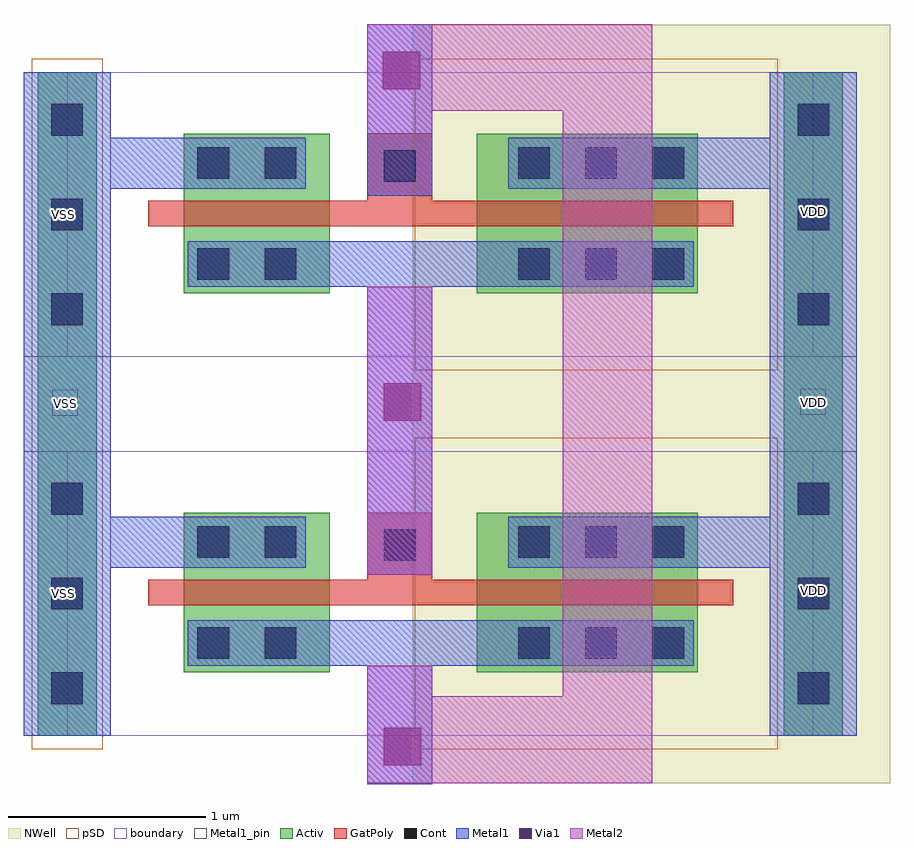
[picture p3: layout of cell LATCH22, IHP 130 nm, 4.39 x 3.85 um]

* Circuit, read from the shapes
.subckt LATCH22 VDD VSS
XM1 VSS n1 n2 VSS sg13_lv_nmos w=0.74u l=0.13u
XM2 VSS n2 n1 VSS sg13_lv_nmos w=0.74u l=0.13u
XM3 VDD n1 n2 VDD sg13_lv_pmos w=1.12u l=0.13u
XM4 VDD n2 n1 VDD sg13_lv_pmos w=1.12u l=0.13u
.ends

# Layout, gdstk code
import gdstk
lib = gdstk.Library(unit=1e-6, precision=1e-09)
def R(c, l, rs):  # rectangles x0, y0, x1, y1
    for r in rs: c.add(gdstk.rectangle(r[:2], r[2:], *l))
def P(c, l, *ps):  # polygons
    for p in ps: c.add(gdstk.Polygon(p, *l))
Activ = (1, 0)
GatPoly = (5, 0)
Cont = (6, 0)
Metal1 = (8, 0)
Metal1_pin = (8, 2)
Metal2 = (10, 0)
pSD = (14, 0)
Via1 = (19, 0)
NWell = (31, 0)
boundary = (189, 4)

latch22 = lib.new_cell('LATCH22')
R(latch22, Activ, [(0.07,0.245,0.37,1.685), (0.07,0.245,0.37,1.685), (3.85,0.245,4.15,1.685), (3.85,0.245,4.15,1.685), (0.81,0.565,1.55,1.375), (0.81,0.565,1.55,1.375), (2.295,0.565,3.415,1.375), (2.295,0.565,3.415,1.375), (3.85,1.683,4.15,2.165), (3.85,1.683,4.15,2.165), (0.07,1.685,0.37,2.165), (0.07,1.685,0.37,2.165), (0.07,2.165,0.37,3.605), (0.07,2.165,0.37,3.605), (3.85,2.165,4.15,3.605), (3.85,2.165,4.15,3.605), (0.81,2.485,1.55,3.295), (0.81,2.485,1.55,3.295), (2.295,2.485,3.415,3.295), (2.295,2.485,3.415,3.295)])
P(latch22, GatPoly, [(0.63,0.905),(0.63,1.035),(1.74,1.035),(1.74,1.375),(2.07,1.375),(2.07,1.035),(3.595,1.035),(3.595,0.905)],
  [(0.63,2.825),(0.63,2.955),(1.74,2.955),(1.74,3.295),(2.07,3.295),(2.07,2.955),(3.595,2.955),(3.595,2.825)],
  [(0.63,0.905),(0.63,1.035),(1.74,1.035),(1.74,1.375),(2.07,1.375),(2.07,1.035),(3.595,1.035),(3.595,0.905)],
  [(0.63,2.825),(0.63,2.955),(1.74,2.955),(1.74,3.295),(2.07,3.295),(2.07,2.955),(3.595,2.955),(3.595,2.825)])
R(latch22, Cont, [(0.14,0.405,0.3,0.565), (0.14,0.405,0.3,0.565), (0.14,0.405,0.3,0.565), (0.14,0.405,0.3,0.565), (3.92,0.405,4.08,0.565), (3.92,0.405,4.08,0.565), (3.92,0.405,4.08,0.565), (3.92,0.405,4.08,0.565), (0.88,0.635,1.04,0.795), (0.88,0.635,1.04,0.795), (1.22,0.635,1.38,0.795), (1.22,0.635,1.38,0.795), (2.505,0.635,2.665,0.795), (2.505,0.635,2.665,0.795), (2.845,0.635,3.005,0.795), (2.845,0.635,3.005,0.795), (3.185,0.635,3.345,0.795), (3.185,0.635,3.345,0.795), (0.14,0.885,0.3,1.045), (0.14,0.885,0.3,1.045), (0.14,0.885,0.3,1.045), (0.14,0.885,0.3,1.045), (3.92,0.885,4.08,1.045), (3.92,0.885,4.08,1.045), (3.92,0.885,4.08,1.045), (3.92,0.885,4.08,1.045), (1.825,1.13,1.985,1.29), (1.825,1.13,1.985,1.29), (0.88,1.145,1.04,1.305), (0.88,1.145,1.04,1.305), (1.22,1.145,1.38,1.305), (1.22,1.145,1.38,1.305), (2.505,1.145,2.665,1.305), (2.505,1.145,2.665,1.305), (2.845,1.145,3.005,1.305), (2.845,1.145,3.005,1.305), (3.185,1.145,3.345,1.305), (3.185,1.145,3.345,1.305), (0.14,1.365,0.3,1.525), (0.14,1.365,0.3,1.525), (0.14,1.365,0.3,1.525), (0.14,1.365,0.3,1.525), (3.92,1.365,4.08,1.525), (3.92,1.365,4.08,1.525), (3.92,1.365,4.08,1.525), (3.92,1.365,4.08,1.525), (0.14,2.325,0.3,2.485), (0.14,2.325,0.3,2.485), (0.14,2.325,0.3,2.485), (0.14,2.325,0.3,2.485), (3.92,2.325,4.08,2.485), (3.92,2.325,4.08,2.485), (3.92,2.325,4.08,2.485), (3.92,2.325,4.08,2.485), (0.88,2.555,1.04,2.715), (0.88,2.555,1.04,2.715), (1.22,2.555,1.38,2.715), (1.22,2.555,1.38,2.715), (2.505,2.555,2.665,2.715), (2.505,2.555,2.665,2.715), (2.845,2.555,3.005,2.715), (2.845,2.555,3.005,2.715), (3.185,2.555,3.345,2.715), (3.185,2.555,3.345,2.715), (0.14,2.805,0.3,2.965), (0.14,2.805,0.3,2.965), (0.14,2.805,0.3,2.965), (0.14,2.805,0.3,2.965), (3.92,2.805,4.08,2.965), (3.92,2.805,4.08,2.965), (3.92,2.805,4.08,2.965), (3.92,2.805,4.08,2.965), (1.825,3.05,1.985,3.21), (1.825,3.05,1.985,3.21), (0.88,3.065,1.04,3.225), (0.88,3.065,1.04,3.225), (1.22,3.065,1.38,3.225), (1.22,3.065,1.38,3.225), (2.505,3.065,2.665,3.225), (2.505,3.065,2.665,3.225), (2.845,3.065,3.005,3.225), (2.845,3.065,3.005,3.225), (3.185,3.065,3.345,3.225), (3.185,3.065,3.345,3.225), (0.14,3.285,0.3,3.445), (0.14,3.285,0.3,3.445), (0.14,3.285,0.3,3.445), (0.14,3.285,0.3,3.445), (3.92,3.285,4.08,3.445), (3.92,3.285,4.08,3.445), (3.92,3.285,4.08,3.445), (3.92,3.285,4.08,3.445)])
R(latch22, Metal1, [(1.74,0,2.07,0.6), (1.74,0,2.07,0.6), (1.744,0.005,2.064,0.83), (1.744,0.005,2.064,0.83), (0.83,0.6,3.395,0.83), (0.83,0.6,3.395,0.83), (1.74,1.06,2.07,1.375), (1.74,1.06,2.07,1.375), (1.74,1.06,2.07,2.52), (1.74,1.06,2.07,2.52), (3.78,1.683,4.22,2.165), (3.78,1.683,4.22,2.165), (0,1.685,0.44,2.165), (0,1.685,0.44,2.165), (0.83,2.52,3.395,2.75), (0.83,2.52,3.395,2.75), (1.74,2.98,2.07,3.295), (1.74,2.98,2.07,3.295), (1.74,2.984,2.07,3.85), (1.74,2.984,2.07,3.85)])
P(latch22, Metal1, [(0,0.245),(0,1.685),(0.44,1.685),(0.44,1.355),(1.43,1.355),(1.43,1.095),(0.44,1.095),(0.44,0.245)],
  [(3.78,0.245),(3.78,1.095),(2.455,1.095),(2.455,1.355),(3.78,1.355),(3.78,1.685),(4.22,1.685),(4.22,0.245)],
  [(0,2.165),(0,3.605),(0.44,3.605),(0.44,3.275),(1.43,3.275),(1.43,3.015),(0.44,3.015),(0.44,2.165)],
  [(3.78,2.165),(3.78,3.015),(2.455,3.015),(2.455,3.275),(3.78,3.275),(3.78,3.605),(4.22,3.605),(4.22,2.165)],
  [(0,0.245),(0,1.685),(0.44,1.685),(0.44,1.355),(1.43,1.355),(1.43,1.095),(0.44,1.095),(0.44,0.245)],
  [(3.78,0.245),(3.78,1.095),(2.455,1.095),(2.455,1.355),(3.78,1.355),(3.78,1.685),(4.22,1.685),(4.22,0.245)],
  [(0,2.165),(0,3.605),(0.44,3.605),(0.44,3.275),(1.43,3.275),(1.43,3.015),(0.44,3.015),(0.44,2.165)],
  [(3.78,2.165),(3.78,3.015),(2.455,3.015),(2.455,3.275),(3.78,3.275),(3.78,3.605),(4.22,3.605),(4.22,2.165)])
R(latch22, Metal1_pin, [(0,0.245,0.44,1.685), (0,0.245,0.44,1.685), (3.78,0.245,4.22,1.685), (3.78,0.245,4.22,1.685), (0.144,1.866,0.274,1.996), (0.144,1.866,0.274,1.996), (3.934,1.871,4.064,2.001), (3.934,1.871,4.064,2.001), (0,2.165,0.44,3.605), (0,2.165,0.44,3.605), (3.78,2.165,4.22,3.605), (3.78,2.165,4.22,3.605)])
R(latch22, Metal2, [(1.74,0.005,1.744,0.445), (1.74,0.005,1.744,0.445), (1.74,0.005,2.07,0.6), (1.74,0.005,2.07,0.6), (2.064,0.005,3.185,0.445), (2.064,0.005,3.185,0.445), (2.73,0.008,3.185,3.846), (2.73,0.008,3.185,3.846), (1.74,1.06,2.07,2.52), (1.74,1.06,2.07,2.52), (1.74,3.295,2.07,3.846), (1.74,3.295,2.07,3.846), (1.74,3.41,2.07,3.85), (1.74,3.41,2.07,3.85), (2.069,3.41,3.185,3.85), (2.069,3.41,3.185,3.85)])
R(latch22, pSD, [(0.04,0.175,0.4,1.755), (0.04,0.175,0.4,1.755), (1.98,0.175,3.82,1.755), (1.98,0.175,3.82,1.755), (0.04,1.755,0.4,2.095), (0.04,1.755,0.4,2.095), (0.04,2.095,0.4,3.675), (0.04,2.095,0.4,3.675), (1.98,2.095,3.82,3.675), (1.98,2.095,3.82,3.675)])
R(latch22, Via1, [(1.825,0.095,2.015,0.285), (1.825,0.095,2.015,0.285), (1.825,1.84,2.015,2.03), (1.825,1.84,2.015,2.03), (1.82,3.52,2.01,3.71), (1.82,3.52,2.01,3.71)])
R(latch22, NWell, [(1.97,0.005,4.39,1.925), (1.97,0.005,4.39,1.925), (1.97,1.925,4.39,3.845), (1.97,1.925,4.39,3.845)])
R(latch22, boundary, [(0.22,0.245,4,1.685), (0.22,0.245,4,1.685), (0.22,2.165,4,3.605), (0.22,2.165,4,3.605)])
latch22.add(gdstk.Label('VDD', (4.001,0.979), layer=8, texttype=25))
latch22.add(gdstk.Label('VSS', (0.201,0.964), layer=8, texttype=25))
latch22.add(gdstk.Label('VDD', (4.001,2.899), layer=8, texttype=25))
latch22.add(gdstk.Label('VSS', (0.201,2.884), layer=8, texttype=25))
latch22.add(gdstk.Label('VSS', (0.21,1.93), layer=8, texttype=25))
latch22.add(gdstk.Label('VDD', (4,1.935), layer=8, texttype=25))
latch22.add(gdstk.Label('VDD', (4.001,0.979), layer=8, texttype=25))
latch22.add(gdstk.Label('VSS', (0.201,0.964), layer=8, texttype=25))
latch22.add(gdstk.Label('VDD', (4.001,2.899), layer=8, texttype=25))
latch22.add(gdstk.Label('VSS', (0.201,2.884), layer=8, texttype=25))
latch22.add(gdstk.Label('VSS', (0.21,1.93), layer=8, texttype=25))
latch22.add(gdstk.Label('VDD', (4,1.935), layer=8, texttype=25))

lib.write_gds('LATCH22.gds')
